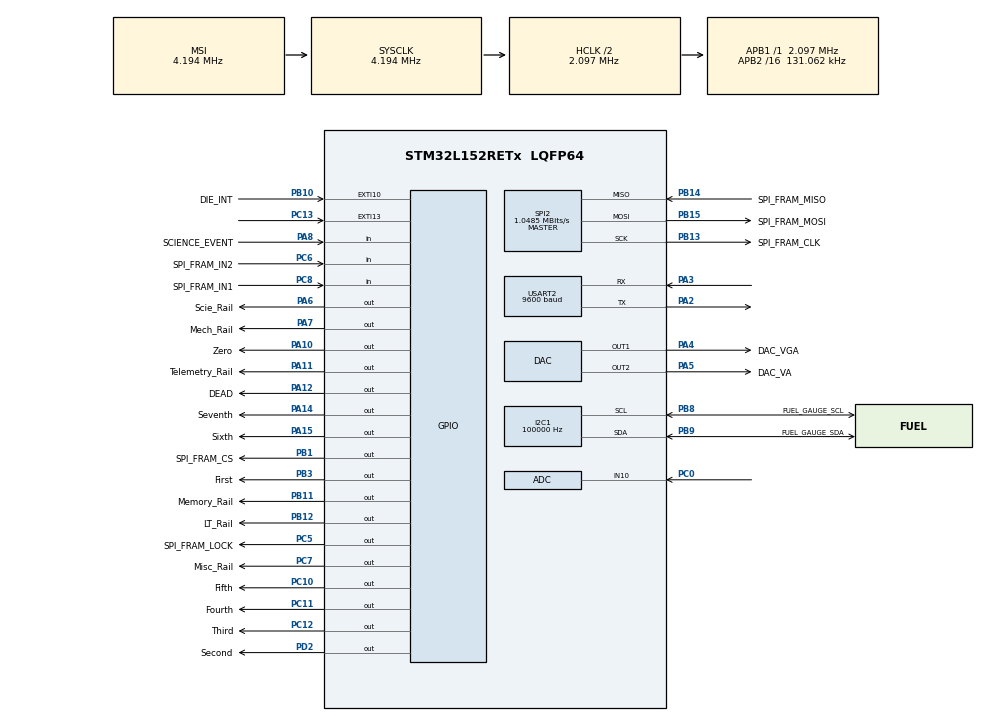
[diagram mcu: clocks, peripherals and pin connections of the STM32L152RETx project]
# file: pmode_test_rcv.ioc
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ADC.Channel-0\#ChannelRegularConversion=ADC_CHANNEL_10
ADC.NbrOfConversionFlag=1
ADC.Rank-0\#ChannelRegularConversion=1
ADC.SamplingTime-0\#ChannelRegularConversion=ADC_SAMPLETIME_4CYCLES
I2C1.ClockSpeed=100000
Mcu.Family=STM32L1
Mcu.Name=STM32L152RETx
Mcu.Package=LQFP64
NVIC.EXTI15_10_IRQn=true\:0\:0\:false\:false\:true\:true\:true
NVIC.PriorityGroup=NVIC_PRIORITYGROUP_4
NVIC.RTC_WKUP_IRQn=true\:0\:0\:false\:false\:true\:true\:true
NVIC.TIM10_IRQn=true\:0\:0\:false\:false\:true\:true\:true
PA10.GPIO_Label=Zero
PA10.Signal=GPIO_Output
PA11.GPIO_Label=Telemetry_Rail
PA11.Signal=GPIO_Output
PA12.GPIO_Label=DEAD
PA12.Signal=GPIO_Output
PA14.GPIO_Label=Seventh
PA14.Signal=GPIO_Output
PA15.GPIO_Label=Sixth
PA15.Signal=GPIO_Output
PA2.Mode=Asynchronous
PA2.Signal=USART2_TX
PA3.Mode=Asynchronous
PA3.Signal=USART2_RX
PA4.GPIO_Label=DAC_VGA
PA4.Signal=COMP_DAC1_group
PA5.GPIO_Label=DAC_VA
PA5.Signal=COMP_DAC2_group
PA6.GPIO_Label=Scie_Rail
PA6.Signal=GPIO_Output
PA7.GPIO_Label=Mech_Rail
PA7.Signal=GPIO_Output
PA8.GPIO_Label=SCIENCE_EVENT
PA8.Signal=GPIO_Input
PB1.GPIO_Label=SPI_FRAM_CS
PB1.Signal=GPIO_Output
PB10.GPIO_Label=DIE_INT
PB10.Signal=GPXTI10
PB11.GPIO_Label=Memory_Rail
PB11.Signal=GPIO_Output
PB12.GPIO_Label=LT_Rail
PB12.Signal=GPIO_Output
PB13.GPIO_Label=SPI_FRAM_CLK
PB13.Mode=Full_Duplex_Master
PB13.Signal=SPI2_SCK
PB14.GPIO_Label=SPI_FRAM_MISO
PB14.Mode=Full_Duplex_Master
PB14.Signal=SPI2_MISO
PB15.GPIO_Label=SPI_FRAM_MOSI
PB15.Mode=Full_Duplex_Master
PB15.Signal=SPI2_MOSI
PB3.GPIO_Label=First
PB3.Signal=GPIO_Output
PB8.GPIO_Label=FUEL_GAUGE_SCL
PB8.Mode=I2C
PB8.Signal=I2C1_SCL
PB9.GPIO_Label=FUEL_GAUGE_SDA
PB9.Mode=I2C
PB9.Signal=I2C1_SDA
PC0.Mode=IN10
PC0.Signal=ADC_IN10
PC10.GPIO_Label=Fifth
PC10.Signal=GPIO_Output
PC11.GPIO_Label=Fourth
PC11.Signal=GPIO_Output
PC12.GPIO_Label=Third
PC12.Signal=GPIO_Output
PC13-WKUP2.Signal=GPXTI13
PC5.GPIO_Label=SPI_FRAM_LOCK
PC5.Signal=GPIO_Output
PC6.GPIO_Label=SPI_FRAM_IN2
PC6.Signal=GPIO_Input
PC7.GPIO_Label=Misc_Rail
PC7.Signal=GPIO_Output
PC8.GPIO_Label=SPI_FRAM_IN1
PC8.Signal=GPIO_Input
PD2.GPIO_Label=Second
PD2.Signal=GPIO_Output
ProjectManager.HeapSize=0x200
ProjectManager.StackSize=0x400
ProjectManager.TargetToolchain=MDK-ARM V5
RCC.48MHZClocksFreq_Value=32000000
RCC.AHBCLKDivider=RCC_SYSCLK_DIV2
RCC.AHBFreq_Value=2097000
RCC.APB1Freq_Value=2097000
RCC.APB1TimFreq_Value=2097000
RCC.APB2CLKDivider=RCC_HCLK_DIV16
RCC.APB2Freq_Value=131062.5
RCC.APB2TimFreq_Value=262125
RCC.HCLKFreq_Value=2097000
RCC.HSE_VALUE=24000000
RCC.HSI_VALUE=16000000
RCC.LSE_VALUE=32768
RCC.MSIClockRange=RCC_MSIRANGE_6
RCC.MSI_VALUE=4194000
RCC.PLLMUL=RCC_PLL_MUL4
RCC.SYSCLKFreq_VALUE=4194000
RCC.VCOOutputFreq_Value=64000000
SH.COMP_DAC1_group.0=DAC_OUT1,DAC_OUT1
SH.COMP_DAC2_group.0=DAC_OUT2,DAC_OUT2
SPI2.BaudRatePrescaler=SPI_BAUDRATEPRESCALER_2
SPI2.CalculateBaudRate=1.0485 MBits/s
SPI2.Direction=SPI_DIRECTION_2LINES
SPI2.Mode=SPI_MODE_MASTER
SPI2.VirtualType=VM_MASTER
TIM10.ClockDivision=TIM_CLOCKDIVISION_DIV4
TIM10.Period=65535
USART2.BaudRate=9600
USART2.VirtualMode=VM_ASYNC
VP_IWDG_VS_IWDG.Mode=IWDG_Activate
VP_RTC_VS_RTC_Activate.Mode=RTC_Enabled
VP_RTC_VS_RTC_Calendar.Mode=RTC_Calendar
VP_RTC_VS_RTC_WakeUp_intern.Mode=WakeUp
VP_TIM10_VS_ClockSourceINT.Mode=Internal
board=custom

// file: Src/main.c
/* USER CODE BEGIN Header */
//OBC VERSION 1
/* USER CODE END Header */

#include "main.h"

/* USER CODE BEGIN Includes */
#include <stdarg.h>
#include "SatelliteControl.h"
#include "agc.h"
/* USER CODE END Includes */

/* USER CODE BEGIN PTD */
typedef enum{
	P_Core = 0x1, S_Core = 0x2, Reboot = 0x3, Sleep = 0x4, Killed = 0x5
}States_FTA;
#define GPIO_Pin_15 8
#define IDLE 0
#define EVENT 1

/* USER CODE END PTD */

ADC_HandleTypeDef hadc;

DAC_HandleTypeDef hdac;

I2C_HandleTypeDef hi2c1;

IWDG_HandleTypeDef hiwdg;

RTC_HandleTypeDef hrtc;

SPI_HandleTypeDef hspi2;

TIM_HandleTypeDef htim10;

UART_HandleTypeDef huart2;

void SystemClock_Config(void);
static void MX_GPIO_Init(void);
static void MX_SPI2_Init(void);
static void MX_USART2_UART_Init(void);
static void MX_I2C1_Init(void);
static void MX_ADC_Init(void);
static void MX_DAC_Init(void);
static void MX_RTC_Init(void);
static void MX_TIM10_Init(void);
static void MX_IWDG_Init(void);
/* USER CODE BEGIN PFP */
void my_printf(const char *fmt, ...);
void SLEEP(void);
void SendToComp(uint8_t input);
void setPin(GPIO_TypeDef* GPIOx, uint16_t GPIO_Pin, int shift_amt, uint8_t input);
/* USER CODE END PFP */

/* USER CODE BEGIN 0 */
uint8_t trigger = 0;
uint8_t ACG_Status = 0;
/* USER CODE END 0 */

int main(void)
{
  /* USER CODE BEGIN 1 */
	States_FTA state_FTA = P_Core;
	States state = Detumble;
  /* USER CODE END 1 */

  /* MCU Configuration--------------------------------------------------------*/

  /* Reset of all peripherals, Initializes the Flash interface and the Systick. */
  HAL_Init();

  /* Configure the system clock */
  SystemClock_Config();

  /* USER CODE BEGIN SysInit */
	__HAL_RCC_DAC_CLK_ENABLE();
  /* USER CODE END SysInit */

  /* Initialize all configured peripherals */
  MX_GPIO_Init();
  MX_SPI2_Init();
  MX_USART2_UART_Init();
  MX_I2C1_Init();
  MX_ADC_Init();
  MX_DAC_Init();
  MX_RTC_Init();
  MX_TIM10_Init();
  MX_IWDG_Init();
  /* USER CODE BEGIN 2 */
	//Sat_Init(&hi2c1, &hspi2, &huart2, &htim10);
	Power_Modes_State_Machine_Init(&hi2c1, &hspi2, &huart2, &htim10);
	AGC_Init();

	HAL_ADC_Start(&hadc);
	DAC->CR |= DAC_CR_EN1;
	DAC->CR |= DAC_CR_EN2;

	// Used for debugging when the satellite is dead or seeing additional AGC data
	#define debugKill  (0)
	#define debugAGC   (0)

	// Track the state of the power modes
	uint8_t status = 0;

  /* USER CODE END 2 */

  /* Infinite loop */
  /* USER CODE BEGIN WHILE */
    while (1)
    {
			switch (state_FTA) {

				case P_Core:
					SendToComp(state_FTA);
					if(trigger){ state_FTA = S_Core; }
					else if (status != Kill) { status = Sat_Run(state);
																		ACG_Status = AGC_DoEvent();}
					//else { state_FTA = Killed; }
					break;

				case S_Core:
					SendToComp(state_FTA);
					if(trigger){ state_FTA = Reboot; }
					else if (status != Kill) { status = Sat_Run(state);
																		ACG_Status =	AGC_DoEvent();}
					//else { state_FTA = Killed; }
					break;

				case Reboot:
					SendToComp(state_FTA);
					if(trigger){ state_FTA = Sleep; }
					//Watchdog Reset
					HAL_IWDG_Refresh(&hiwdg);
					break;

				case Sleep:
					SendToComp(state_FTA);
					if(trigger){ state_FTA = P_Core; }
					else { SLEEP(); }
					break;

				case Killed:
					//exit(0);
					break;
			}
			trigger = IDLE;
			//SendToComp(status);
			uint8_t temp = 0x00;
			SendToComp(temp);
			//SendToComp(ACG_Status);
    /* USER CODE END WHILE */

		}
}

void SystemClock_Config(void)
{
  RCC_OscInitTypeDef RCC_OscInitStruct = {0};
  RCC_ClkInitTypeDef RCC_ClkInitStruct = {0};
  RCC_PeriphCLKInitTypeDef PeriphClkInit = {0};

  /** Configure the main internal regulator output voltage
  */
  __HAL_PWR_VOLTAGESCALING_CONFIG(PWR_REGULATOR_VOLTAGE_SCALE1);
  /** Initializes the CPU, AHB and APB busses clocks
  */
  RCC_OscInitStruct.OscillatorType = RCC_OSCILLATORTYPE_HSI|RCC_OSCILLATORTYPE_LSI
                              |RCC_OSCILLATORTYPE_MSI;
  RCC_OscInitStruct.HSIState = RCC_HSI_ON;
  RCC_OscInitStruct.HSICalibrationValue = RCC_HSICALIBRATION_DEFAULT;
  RCC_OscInitStruct.LSIState = RCC_LSI_ON;
  RCC_OscInitStruct.MSIState = RCC_MSI_ON;
  RCC_OscInitStruct.MSICalibrationValue = 0;
  RCC_OscInitStruct.MSIClockRange = RCC_MSIRANGE_6;
  RCC_OscInitStruct.PLL.PLLState = RCC_PLL_NONE;
  if (HAL_RCC_OscConfig(&RCC_OscInitStruct) != HAL_OK)
  {
    Error_Handler();
  }
  /** Initializes the CPU, AHB and APB busses clocks
  */
  RCC_ClkInitStruct.ClockType = RCC_CLOCKTYPE_HCLK|RCC_CLOCKTYPE_SYSCLK
                              |RCC_CLOCKTYPE_PCLK1|RCC_CLOCKTYPE_PCLK2;
  RCC_ClkInitStruct.SYSCLKSource = RCC_SYSCLKSOURCE_MSI;
  RCC_ClkInitStruct.AHBCLKDivider = RCC_SYSCLK_DIV2;
  RCC_ClkInitStruct.APB1CLKDivider = RCC_HCLK_DIV1;
  RCC_ClkInitStruct.APB2CLKDivider = RCC_HCLK_DIV16;

  if (HAL_RCC_ClockConfig(&RCC_ClkInitStruct, FLASH_LATENCY_0) != HAL_OK)
  {
    Error_Handler();
  }
  PeriphClkInit.PeriphClockSelection = RCC_PERIPHCLK_RTC;
  PeriphClkInit.RTCClockSelection = RCC_RTCCLKSOURCE_LSI;
  if (HAL_RCCEx_PeriphCLKConfig(&PeriphClkInit) != HAL_OK)
  {
    Error_Handler();
  }
}

static void MX_ADC_Init(void)
{

  ADC_ChannelConfTypeDef sConfig = {0};

  /** Configure the global features of the ADC (Clock, Resolution, Data Alignment and number of conversion)
  */
  hadc.Instance = ADC1;
  hadc.Init.ClockPrescaler = ADC_CLOCK_ASYNC_DIV1;
  hadc.Init.Resolution = ADC_RESOLUTION_12B;
  hadc.Init.DataAlign = ADC_DATAALIGN_RIGHT;
  hadc.Init.ScanConvMode = ADC_SCAN_DISABLE;
  hadc.Init.EOCSelection = ADC_EOC_SEQ_CONV;
  hadc.Init.LowPowerAutoWait = ADC_AUTOWAIT_DISABLE;
  hadc.Init.LowPowerAutoPowerOff = ADC_AUTOPOWEROFF_DISABLE;
  hadc.Init.ChannelsBank = ADC_CHANNELS_BANK_A;
  hadc.Init.ContinuousConvMode = DISABLE;
  hadc.Init.NbrOfConversion = 1;
  hadc.Init.DiscontinuousConvMode = DISABLE;
  hadc.Init.ExternalTrigConv = ADC_SOFTWARE_START;
  hadc.Init.ExternalTrigConvEdge = ADC_EXTERNALTRIGCONVEDGE_NONE;
  hadc.Init.DMAContinuousRequests = DISABLE;
  if (HAL_ADC_Init(&hadc) != HAL_OK)
  {
    Error_Handler();
  }
  /** Configure for the selected ADC regular channel its corresponding rank in the sequencer and its sample time.
  */
  sConfig.Channel = ADC_CHANNEL_10;
  sConfig.Rank = ADC_REGULAR_RANK_1;
  sConfig.SamplingTime = ADC_SAMPLETIME_4CYCLES;
  if (HAL_ADC_ConfigChannel(&hadc, &sConfig) != HAL_OK)
  {
    Error_Handler();
  }

}

static void MX_DAC_Init(void)
{

  DAC_ChannelConfTypeDef sConfig = {0};

  /** DAC Initialization
  */
  hdac.Instance = DAC;
  if (HAL_DAC_Init(&hdac) != HAL_OK)
  {
    Error_Handler();
  }
  /** DAC channel OUT1 config
  */
  sConfig.DAC_Trigger = DAC_TRIGGER_NONE;
  sConfig.DAC_OutputBuffer = DAC_OUTPUTBUFFER_ENABLE;
  if (HAL_DAC_ConfigChannel(&hdac, &sConfig, DAC_CHANNEL_1) != HAL_OK)
  {
    Error_Handler();
  }
  /** DAC channel OUT2 config
  */
  if (HAL_DAC_ConfigChannel(&hdac, &sConfig, DAC_CHANNEL_2) != HAL_OK)
  {
    Error_Handler();
  }

}

static void MX_I2C1_Init(void)
{

  hi2c1.Instance = I2C1;
  hi2c1.Init.ClockSpeed = 100000;
  hi2c1.Init.DutyCycle = I2C_DUTYCYCLE_2;
  hi2c1.Init.OwnAddress1 = 0;
  hi2c1.Init.AddressingMode = I2C_ADDRESSINGMODE_7BIT;
  hi2c1.Init.DualAddressMode = I2C_DUALADDRESS_DISABLE;
  hi2c1.Init.OwnAddress2 = 0;
  hi2c1.Init.GeneralCallMode = I2C_GENERALCALL_DISABLE;
  hi2c1.Init.NoStretchMode = I2C_NOSTRETCH_DISABLE;
  if (HAL_I2C_Init(&hi2c1) != HAL_OK)
  {
    Error_Handler();
  }

}

static void MX_IWDG_Init(void)
{

  hiwdg.Instance = IWDG;
  hiwdg.Init.Prescaler = IWDG_PRESCALER_4;
  hiwdg.Init.Reload = 4095;
  if (HAL_IWDG_Init(&hiwdg) != HAL_OK)
  {
    Error_Handler();
  }

}

static void MX_RTC_Init(void)
{

  RTC_TimeTypeDef sTime = {0};
  RTC_DateTypeDef sDate = {0};

  /** Initialize RTC Only
  */
  hrtc.Instance = RTC;
  hrtc.Init.HourFormat = RTC_HOURFORMAT_24;
  hrtc.Init.AsynchPrediv = 127;
  hrtc.Init.SynchPrediv = 255;
  hrtc.Init.OutPut = RTC_OUTPUT_DISABLE;
  hrtc.Init.OutPutPolarity = RTC_OUTPUT_POLARITY_HIGH;
  hrtc.Init.OutPutType = RTC_OUTPUT_TYPE_OPENDRAIN;
  if (HAL_RTC_Init(&hrtc) != HAL_OK)
  {
    Error_Handler();
  }

  /** Initialize RTC and set the Time and Date
  */
  sTime.Hours = 0x0;
  sTime.Minutes = 0x0;
  sTime.Seconds = 0x0;
  sTime.DayLightSaving = RTC_DAYLIGHTSAVING_NONE;
  sTime.StoreOperation = RTC_STOREOPERATION_RESET;
  if (HAL_RTC_SetTime(&hrtc, &sTime, RTC_FORMAT_BCD) != HAL_OK)
  {
    Error_Handler();
  }
  sDate.WeekDay = RTC_WEEKDAY_MONDAY;
  sDate.Month = RTC_MONTH_JANUARY;
  sDate.Date = 0x1;
  sDate.Year = 0x0;

  if (HAL_RTC_SetDate(&hrtc, &sDate, RTC_FORMAT_BCD) != HAL_OK)
  {
    Error_Handler();
  }
  /** Enable the WakeUp
  */
  if (HAL_RTCEx_SetWakeUpTimer_IT(&hrtc, 0, RTC_WAKEUPCLOCK_RTCCLK_DIV16) != HAL_OK)
  {
    Error_Handler();
  }

}

static void MX_SPI2_Init(void)
{

  /* SPI2 parameter configuration*/
  hspi2.Instance = SPI2;
  hspi2.Init.Mode = SPI_MODE_MASTER;
  hspi2.Init.Direction = SPI_DIRECTION_2LINES;
  hspi2.Init.DataSize = SPI_DATASIZE_8BIT;
  hspi2.Init.CLKPolarity = SPI_POLARITY_LOW;
  hspi2.Init.CLKPhase = SPI_PHASE_1EDGE;
  hspi2.Init.NSS = SPI_NSS_SOFT;
  hspi2.Init.BaudRatePrescaler = SPI_BAUDRATEPRESCALER_2;
  hspi2.Init.FirstBit = SPI_FIRSTBIT_MSB;
  hspi2.Init.TIMode = SPI_TIMODE_DISABLE;
  hspi2.Init.CRCCalculation = SPI_CRCCALCULATION_DISABLE;
  hspi2.Init.CRCPolynomial = 10;
  if (HAL_SPI_Init(&hspi2) != HAL_OK)
  {
    Error_Handler();
  }

}

static void MX_TIM10_Init(void)
{

  TIM_ClockConfigTypeDef sClockSourceConfig = {0};

  htim10.Instance = TIM10;
  htim10.Init.Prescaler = 0;
  htim10.Init.CounterMode = TIM_COUNTERMODE_UP;
  htim10.Init.Period = 65535;
  htim10.Init.ClockDivision = TIM_CLOCKDIVISION_DIV4;
//  htim10.Init.AutoReloadPreload = TIM_AUTORELOAD_PRELOAD_DISABLE;
  if (HAL_TIM_Base_Init(&htim10) != HAL_OK)
  {
    Error_Handler();
  }
  sClockSourceConfig.ClockSource = TIM_CLOCKSOURCE_INTERNAL;
  if (HAL_TIM_ConfigClockSource(&htim10, &sClockSourceConfig) != HAL_OK)
  {
    Error_Handler();
  }

}

static void MX_USART2_UART_Init(void)
{

  huart2.Instance = USART2;
  huart2.Init.BaudRate = 9600;
  huart2.Init.WordLength = UART_WORDLENGTH_8B;
  huart2.Init.StopBits = UART_STOPBITS_1;
  huart2.Init.Parity = UART_PARITY_NONE;
  huart2.Init.Mode = UART_MODE_TX_RX;
  huart2.Init.HwFlowCtl = UART_HWCONTROL_NONE;
  huart2.Init.OverSampling = UART_OVERSAMPLING_16;
  if (HAL_UART_Init(&huart2) != HAL_OK)
  {
    Error_Handler();
  }

}

static void MX_GPIO_Init(void)
{
  GPIO_InitTypeDef GPIO_InitStruct = {0};

  /* GPIO Ports Clock Enable */
  __HAL_RCC_GPIOC_CLK_ENABLE();
  __HAL_RCC_GPIOA_CLK_ENABLE();
  __HAL_RCC_GPIOB_CLK_ENABLE();
  __HAL_RCC_GPIOD_CLK_ENABLE();

  /*Configure GPIO pin Output Level */
  HAL_GPIO_WritePin(GPIOA, Scie_Rail_Pin|Mech_Rail_Pin|Zero_Pin|Telemetry_Rail_Pin
                          |DEAD_Pin|Seventh_Pin|Sixth_Pin, GPIO_PIN_RESET);

  /*Configure GPIO pin Output Level */
  HAL_GPIO_WritePin(GPIOC, SPI_FRAM_LOCK_Pin|Misc_Rail_Pin|Fifth_Pin|Fourth_Pin
                          |Third_Pin, GPIO_PIN_RESET);

  /*Configure GPIO pin Output Level */
  HAL_GPIO_WritePin(GPIOB, SPI_FRAM_CS_Pin|Memory_Rail_Pin|LT_Rail_Pin|First_Pin, GPIO_PIN_RESET);

  /*Configure GPIO pin Output Level */
  HAL_GPIO_WritePin(Second_GPIO_Port, Second_Pin, GPIO_PIN_RESET);

  /*Configure GPIO pin : PC13 */
  GPIO_InitStruct.Pin = GPIO_PIN_13;
  GPIO_InitStruct.Mode = GPIO_MODE_IT_RISING;
  GPIO_InitStruct.Pull = GPIO_NOPULL;
  HAL_GPIO_Init(GPIOC, &GPIO_InitStruct);

  /*Configure GPIO pins : Scie_Rail_Pin Mech_Rail_Pin Zero_Pin Telemetry_Rail_Pin
                           DEAD_Pin Seventh_Pin Sixth_Pin */
  GPIO_InitStruct.Pin = Scie_Rail_Pin|Mech_Rail_Pin|Zero_Pin|Telemetry_Rail_Pin
                          |DEAD_Pin|Seventh_Pin|Sixth_Pin;
  GPIO_InitStruct.Mode = GPIO_MODE_OUTPUT_PP;
  GPIO_InitStruct.Pull = GPIO_NOPULL;
  GPIO_InitStruct.Speed = GPIO_SPEED_FREQ_LOW;
  HAL_GPIO_Init(GPIOA, &GPIO_InitStruct);

  /*Configure GPIO pins : SPI_FRAM_LOCK_Pin Misc_Rail_Pin Fifth_Pin Fourth_Pin
                           Third_Pin */
  GPIO_InitStruct.Pin = SPI_FRAM_LOCK_Pin|Misc_Rail_Pin|Fifth_Pin|Fourth_Pin
                          |Third_Pin;
  GPIO_InitStruct.Mode = GPIO_MODE_OUTPUT_PP;
  GPIO_InitStruct.Pull = GPIO_NOPULL;
  GPIO_InitStruct.Speed = GPIO_SPEED_FREQ_LOW;
  HAL_GPIO_Init(GPIOC, &GPIO_InitStruct);

  /*Configure GPIO pins : SPI_FRAM_CS_Pin Memory_Rail_Pin LT_Rail_Pin First_Pin */
  GPIO_InitStruct.Pin = SPI_FRAM_CS_Pin|Memory_Rail_Pin|LT_Rail_Pin|First_Pin;
  GPIO_InitStruct.Mode = GPIO_MODE_OUTPUT_PP;
  GPIO_InitStruct.Pull = GPIO_NOPULL;
  GPIO_InitStruct.Speed = GPIO_SPEED_FREQ_LOW;
  HAL_GPIO_Init(GPIOB, &GPIO_InitStruct);

  /*Configure GPIO pin : DIE_INT_Pin */
  GPIO_InitStruct.Pin = DIE_INT_Pin;
  GPIO_InitStruct.Mode = GPIO_MODE_IT_RISING;
  GPIO_InitStruct.Pull = GPIO_NOPULL;
  HAL_GPIO_Init(DIE_INT_GPIO_Port, &GPIO_InitStruct);

  /*Configure GPIO pins : SPI_FRAM_IN2_Pin SPI_FRAM_IN1_Pin */
  GPIO_InitStruct.Pin = SPI_FRAM_IN2_Pin|SPI_FRAM_IN1_Pin;
  GPIO_InitStruct.Mode = GPIO_MODE_INPUT;
  GPIO_InitStruct.Pull = GPIO_NOPULL;
  HAL_GPIO_Init(GPIOC, &GPIO_InitStruct);

  /*Configure GPIO pin : SCIENCE_EVENT_Pin */
  GPIO_InitStruct.Pin = SCIENCE_EVENT_Pin;
  GPIO_InitStruct.Mode = GPIO_MODE_INPUT;
  GPIO_InitStruct.Pull = GPIO_NOPULL;
  HAL_GPIO_Init(SCIENCE_EVENT_GPIO_Port, &GPIO_InitStruct);

  /*Configure GPIO pin : Second_Pin */
  GPIO_InitStruct.Pin = Second_Pin;
  GPIO_InitStruct.Mode = GPIO_MODE_OUTPUT_PP;
  GPIO_InitStruct.Pull = GPIO_NOPULL;
  GPIO_InitStruct.Speed = GPIO_SPEED_FREQ_LOW;
  HAL_GPIO_Init(Second_GPIO_Port, &GPIO_InitStruct);

  /* EXTI interrupt init*/
  HAL_NVIC_SetPriority(EXTI15_10_IRQn, 0, 0);
  HAL_NVIC_EnableIRQ(EXTI15_10_IRQn);

}

/* USER CODE BEGIN 4 */

void HAL_GPIO_EXTI_Callback(uint16_t GPIO_Pin){
	if (GPIO_Pin == GPIO_PIN_13) {
		 char string[400] = "trigger";
     HAL_UART_Transmit(&huart2, (uint8_t*)string, strlen(string), 10); // send message via UART
		trigger = EVENT;
	}
}

void SendToComp (uint8_t input){
	int shifter = 7;

	setPin(Seventh_GPIO_Port, Seventh_Pin, shifter--, input);
	setPin(Sixth_GPIO_Port, Sixth_Pin, shifter--, input);
	setPin(Fifth_GPIO_Port, Fifth_Pin, shifter--, input);
	setPin(Fourth_GPIO_Port, Fourth_Pin, shifter--, input);
	setPin(Third_GPIO_Port, Third_Pin, shifter--, input);
	setPin(Second_GPIO_Port, Second_Pin, shifter--, input);
	setPin(First_GPIO_Port, First_Pin, shifter--, input);
	setPin(Zero_GPIO_Port, Zero_Pin, shifter, input);

}

void setPin(GPIO_TypeDef* GPIOx, uint16_t GPIO_Pin, int shift_amt, uint8_t input){
	if(input & (1 << shift_amt)){
		HAL_GPIO_WritePin(GPIOx, GPIO_Pin, GPIO_PIN_SET);
	}
	else{
		HAL_GPIO_WritePin(GPIOx, GPIO_Pin, GPIO_PIN_RESET);
	}

}
void SLEEP(void){
		HAL_SuspendTick();
		HAL_PWR_EnterSLEEPMode(PWR_MAINREGULATOR_ON, PWR_SLEEPENTRY_WFI);
		HAL_ResumeTick();
}
//#ifdef USE_DEBUG_PRINTF
/**
 * Print a printf-like string to the UART
 *
 * \param fmt	printf format string
 * \param argp	variable argument list
 */
static void vprint(const char *fmt, va_list argp) {
    char string[400];
    if(0 < vsprintf(string,fmt,argp)) // build string
    {
        HAL_UART_Transmit(&huart2, (uint8_t*)string, strlen(string), 1000); // send message via UART
    }
}
//#endif

/**
 * Custom printf that prints to the UART.
 * If the preprocessor USE_DEBUG_PRINTF is not defined, then it does nothing.
 * I would use the syscalls but those didn't work for some reason.
 *
 * \param fmt	printf format string
 */
void my_printf(const char *fmt, ...) // custom printf() function
{
#ifdef USE_DEBUG_PRINTF
    va_list argp;
    va_start(argp, fmt);
    vprint(fmt, argp);
    va_end(argp);
#endif
}

#if 1
static void GPIO_DeInit(void)
{
    // set the configuration for the GPIO ports (PA, PB, PC) to be analog inputs for low power
    GPIO_InitTypeDef GPIO_InitStructure = {0};
    GPIO_InitStructure.Pin = GPIO_PIN_All;
    GPIO_InitStructure.Mode = GPIO_MODE_ANALOG;
    GPIO_InitStructure.Pull = GPIO_NOPULL;

    // GPIO_A is preserved to keep output status unchanged and have
    // Interrupt working for waking Up.
    // GPIO_B and GPIO_C are disabled
    HAL_GPIO_Init(GPIOB, &GPIO_InitStructure);
    __HAL_RCC_GPIOB_CLK_DISABLE();
    HAL_GPIO_Init(GPIOC, &GPIO_InitStructure);
    __HAL_RCC_GPIOC_CLK_DISABLE();
}

void HAL_Delay(__IO uint32_t Delay)
{
    // the RTC is clocked by LSI, which means Wake Up clock is RTCCLK /16
    uint32_t TimeValue = (Delay * (LSI_VALUE / 16)) / 1000;
    HAL_RTCEx_SetWakeUpTimer_IT(&hrtc, TimeValue, RTC_WAKEUPCLOCK_RTCCLK_DIV16);

    __HAL_RCC_PWR_CLK_ENABLE(); // Enable Power Control clock
    HAL_PWREx_EnableUltraLowPower(); // Ultra low power mode
    HAL_PWREx_EnableFastWakeUp(); // Fast wake-up for ultra low power mode

    // turn off GPIO to save power
//    GPIO_DeInit();

    HAL_ADC_DeInit(&hadc);
    HAL_UART_DeInit(&huart2);
    HAL_SPI_DeInit(&hspi2);
    HAL_I2C_DeInit(&hi2c1);

    // switch to STOP mode
    // the microcontroller is sleeping in this function. It will resume on interrupt
    EXTI->PR = 0xFFFFFFFF; // https://community.st.com/s/question/0D50X00009Xke5iSAB/enter-and-exit-stop-mode-with-rtc-and-exti
    HAL_PWR_EnterSTOPMode(PWR_LOWPOWERREGULATOR_ON, PWR_STOPENTRY_WFI);

    // Now we're waking up, so set up clocks again
    SystemClock_Config();

    // Deactivate RTC wakeUp
    HAL_RTCEx_DeactivateWakeUpTimer(&hrtc);

    // Reinit GPIOs
//    MX_GPIO_Init();
    MX_SPI2_Init();
    MX_USART2_UART_Init();
    MX_I2C1_Init();
    MX_ADC_Init();
    HAL_ADC_Start(&hadc);

}
#endif

/* USER CODE END 4 */

void Error_Handler(void)
{
}

/************************ (C) COPYRIGHT STMicroelectronics *****END OF FILE****/
